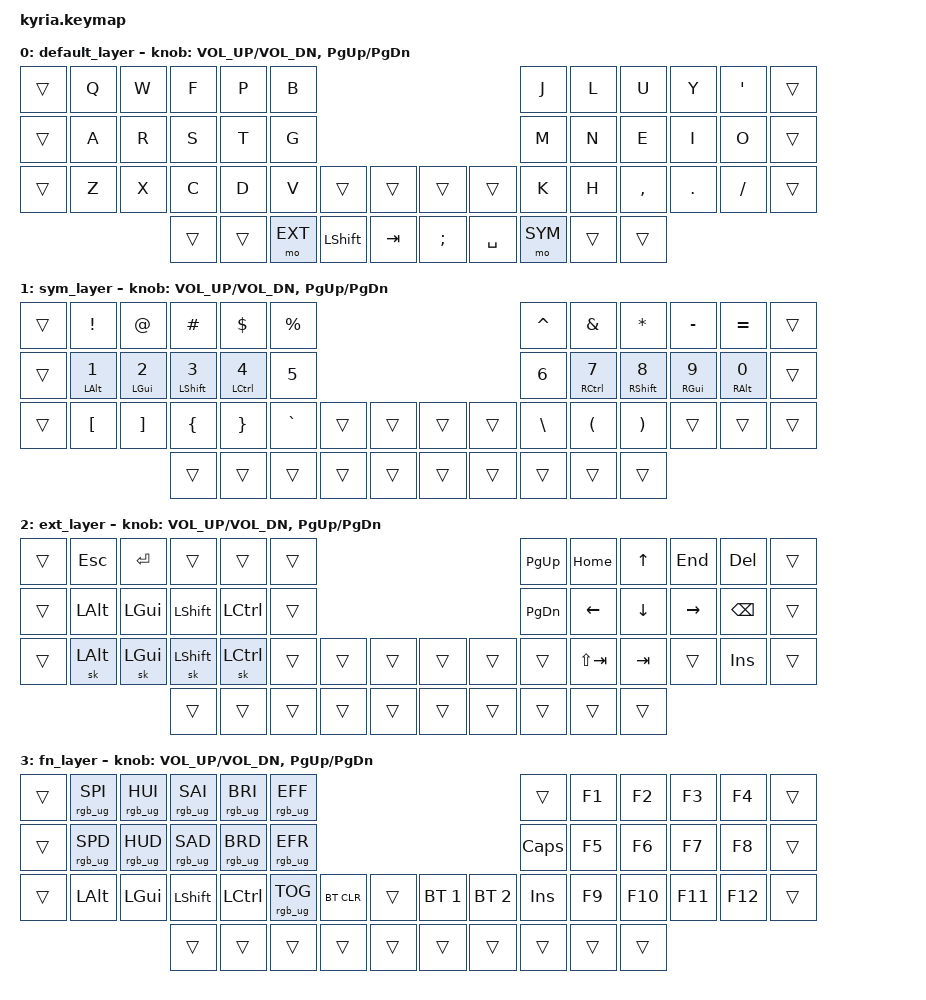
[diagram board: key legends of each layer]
/*
 * Copyright (c) 2020 The ZMK Contributors
 *
 * SPDX-License-Identifier: MIT
 */

#include <behaviors.dtsi>
#include <dt-bindings/zmk/keys.h>
#include <dt-bindings/zmk/rgb.h>
#include <dt-bindings/zmk/bt.h>
#include <../boards/shields/kyria/boards/nice_nano.overlay>

#define DEFAULT 0
#define SYM 1
#define EXT 2
#define FN 3

#define COMBO_TERM 40
#define COMBO_LAYERS DEFAULT SYM EXT

#define ZMK_COMBO(name, combo_bindings, keypos, combo_layers) \
    / { \
        combos { \
            compatible = "zmk,combos"; \
            combo_ ## name { \
                timeout-ms = <COMBO_TERM>; \
                bindings = <combo_bindings>; \
                key-positions = <keypos>; \
                layers = <combo_layers>; \
            }; \
        }; \
    };

// ╭─────────────────────────────╮                      ╭─────────────────────────────╮
// |  0 |  1 |  2 |  3 |  4 |  5 |                      |  6 |  7 |  8 |  9 | 10 | 11 |
// | 12 | 13 | 14 | 15 | 16 | 17 ╰─────────╮  ╭─────────╯ 18 | 19 | 20 | 21 | 22 | 23 |
// | 24 | 25 | 26 | 27 | 28 | 29 | 30 | 31 |  | 32 | 33 | 34 | 35 | 36 | 37 | 38 | 39 |
// ╰────────────╮ 40 | 41 | 42 | | 43 | 44 |  | 45 | 46 | | 47 | 48 | 49 ╭────────────╯
//              ╰──────────────────────────╯  ╰──────────────────────────╯

ZMK_COMBO(enter      , &kp ENTER       , 28 35       , COMBO_LAYERS  )
ZMK_COMBO(sklam      , &kp EXCLAMATION , 2 3 36 37   , COMBO_LAYERS  )
ZMK_COMBO(question   , &kp LS(SLASH)   , 4 7         , COMBO_LAYERS  )
ZMK_COMBO(minus      , &kp MINUS       , 36 37       , COMBO_LAYERS  )
ZMK_COMBO(underscore , &kp LS(MINUS)   , 35 36       , COMBO_LAYERS  )
ZMK_COMBO(equal      , &kp EQUAL       , 37 38       , COMBO_LAYERS  )
ZMK_COMBO(undo       , &kp LC(Z)       , 25 26       , COMBO_LAYERS  )
ZMK_COMBO(cut        , &kp LC(X)       , 26 27       , COMBO_LAYERS  )
ZMK_COMBO(copy       , &kp LC(C)       , 27 28       , COMBO_LAYERS  )
ZMK_COMBO(paste      , &kp LC(V)       , 26 27 28    , COMBO_LAYERS  )
ZMK_COMBO(1password  , &kp LA(X)       , 25 26 27    , COMBO_LAYERS  )
ZMK_COMBO(audio      , &kp LA(A)       , 30 43       , COMBO_LAYERS  )
ZMK_COMBO(video      , &kp LA(V)       , 31 44       , COMBO_LAYERS  )

ZMK_COMBO(lalt       , &sk LALT        , 42 25       , COMBO_LAYERS  )
ZMK_COMBO(lgui       , &sk LGUI        , 42 26       , COMBO_LAYERS  )
ZMK_COMBO(lshift     , &sk LSHFT       , 42 27       , COMBO_LAYERS  )
ZMK_COMBO(lctrl      , &sk LCTRL       , 42 28       , COMBO_LAYERS  )

ZMK_COMBO(rctrl      , &sk RCTRL       , 47 35       , COMBO_LAYERS  )
ZMK_COMBO(rshift     , &sk RSHFT       , 47 36       , COMBO_LAYERS  )
ZMK_COMBO(rgui       , &sk RGUI        , 47 37       , COMBO_LAYERS  )
ZMK_COMBO(ralt       , &sk RALT        , 47 38       , COMBO_LAYERS  )



/ {
    conditional_layers {
        compatible = "zmk,conditional-layers";
        tri_layer {
            if-layers = <SYM EXT>;
            then-layer = <FN>;
        };
    };

    behaviors {
        hm: homerow_mods {
            compatible = "zmk,behavior-hold-tap";
            label = "HOMEROW_MODS";
            #binding-cells = <2>;
            tapping-term-ms = <150>;
            quick-tap-ms = <0>;
            flavor = "tap-preferred";
            bindings = <&kp>, <&kp>;
        };
    };

    keymap {
        compatible = "zmk,keymap";

        default_layer {
            bindings = <
           // ╭─────────────┬─────────────┬─────────────┬─────────────┬─────────────┬─────────────╮                                                           ╭─────────────┬─────────────┬─────────────┬─────────────┬─────────────┬─────────────╮
                &trans        &kp Q         &kp W         &kp F         &kp P         &kp B                                                                     &kp J         &kp L         &kp U         &kp Y         &kp SQT       &trans
           // ├─────────────┼─────────────┼─────────────┼─────────────┼─────────────┼─────────────┤                                                           ├─────────────┼─────────────┼─────────────┼─────────────┼─────────────┼─────────────┤
                &trans        &kp A         &kp R         &kp S         &kp T         &kp G                                                                     &kp M         &kp N         &kp E         &kp I         &kp O         &trans
           // ├─────────────┼─────────────┼─────────────┼─────────────┼─────────────┼─────────────┤─────────────┬─────────────╮   ╭─────────────┬─────────────┼─────────────┼─────────────┼─────────────┼─────────────┤─────────────┼─────────────┤
                &trans        &kp Z         &kp X         &kp C         &kp D         &kp V         &trans        &trans            &trans        &trans        &kp K         &kp H         &kp COMMA     &kp DOT       &kp SLASH     &trans
           // ╰─────────────┴─────────────┼─────────────┼─────────────┼─────────────┼─────────────┤─────────────┤─────────────┤   ├─────────────┼─────────────┼─────────────┼─────────────┼─────────────┼─────────────┴─────────────┴─────────────╯
                                                          &trans        &trans        &mo EXT       &kp LSHIFT    &kp TAB           &kp SEMI      &kp SPACE     &mo SYM       &trans        &trans
           //                                           ╰─────────────┴─────────────┴─────────────┴─────────────┴─────────────╯   ╰─────────────┴─────────────┴─────────────┴─────────────┴─────────────╯
            >;

            sensor-bindings = <&inc_dec_kp C_VOL_UP C_VOL_DN &inc_dec_kp PG_UP PG_DN>;
        };

        sym_layer {
            bindings = <
           // ╭─────────────┬─────────────┬─────────────┬─────────────┬─────────────┬─────────────╮                                                           ╭─────────────┬─────────────┬─────────────┬─────────────┬─────────────┬─────────────╮
                &trans        &kp EXCL      &kp AT        &kp HASH      &kp DLLR      &kp PRCNT                                                                 &kp CARET     &kp AMPS      &kp ASTRK     &kp MINUS     &kp EQUAL     &trans
           // ├─────────────┼─────────────┼─────────────┼─────────────┼─────────────┼─────────────┤                                                           ├─────────────┼─────────────┼─────────────┼─────────────┼─────────────┼─────────────┤
                &trans        &hm LALT N1   &hm LGUI N2   &hm LSHFT N3  &hm LCTRL N4  &kp N5                                                                    &kp N6        &hm RCTRL N7  &hm RSHFT N8  &hm RGUI N9   &hm RALT N0   &trans
           // ├─────────────┼─────────────┼─────────────┼─────────────┼─────────────┼─────────────┤─────────────┬─────────────╮   ╭─────────────┬─────────────┼─────────────┼─────────────┼─────────────┼─────────────┤─────────────┼─────────────┤
                &trans        &kp LBKT      &kp RBKT      &kp LBRC      &kp RBRC      &kp GRAVE     &trans        &trans            &trans        &trans        &kp BSLH      &kp LPAR      &kp RPAR      &trans        &trans        &trans
           // ╰─────────────┴─────────────┼─────────────┼─────────────┼─────────────┼─────────────┤─────────────┤─────────────┤   ├─────────────┼─────────────┼─────────────┼─────────────┼─────────────┼─────────────┴─────────────┴─────────────╯
                                                          &trans        &trans        &trans        &trans        &trans            &trans        &trans        &trans        &trans        &trans
           //                                           ╰─────────────┴─────────────┴─────────────┴─────────────┴─────────────╯   ╰─────────────┴─────────────┴─────────────┴─────────────┴─────────────╯
            >;

            sensor-bindings = <&inc_dec_kp C_VOL_UP C_VOL_DN &inc_dec_kp PG_UP PG_DN>;
        };

        ext_layer {
            bindings = <
           // ╭─────────────┬─────────────┬─────────────┬─────────────┬─────────────┬─────────────╮                                                           ╭─────────────┬─────────────┬─────────────┬─────────────┬─────────────┬─────────────╮
                &trans        &kp ESC       &kp ENTER     &trans        &trans        &trans                                                                    &kp PG_UP     &kp HOME      &kp UP        &kp END       &kp DEL       &trans
           // ├─────────────┼─────────────┼─────────────┼─────────────┼─────────────┼─────────────┤                                                           ├─────────────┼─────────────┼─────────────┼─────────────┼─────────────┼─────────────┤
                &trans        &kp LALT      &kp LGUI      &kp LSHFT     &kp LCTRL     &trans                                                                    &kp PG_DN     &kp LEFT      &kp DOWN      &kp RIGHT     &kp BSPC      &trans
           // ├─────────────┼─────────────┼─────────────┼─────────────┼─────────────┼─────────────┤─────────────┬─────────────╮   ╭─────────────┬─────────────┼─────────────┼─────────────┼─────────────┼─────────────┤─────────────┼─────────────┤
                &trans        &sk LALT      &sk LGUI      &sk LSHFT     &sk LCTRL     &trans        &trans        &trans            &trans        &trans        &trans        &kp LS(TAB)   &kp TAB       &trans        &kp INS       &trans
           // ╰─────────────┴─────────────┼─────────────┼─────────────┼─────────────┼─────────────┤─────────────┤─────────────┤   ├─────────────┼─────────────┼─────────────┼─────────────┼─────────────┼─────────────┴─────────────┴─────────────╯
                                                          &trans        &trans        &trans        &trans        &trans            &trans        &trans        &trans        &trans        &trans
           //                                           ╰─────────────┴─────────────┴─────────────┴─────────────┴─────────────╯   ╰─────────────┴─────────────┴─────────────┴─────────────┴─────────────╯
            >;

            sensor-bindings = <&inc_dec_kp C_VOL_UP C_VOL_DN &inc_dec_kp PG_UP PG_DN>;
        };

        fn_layer {
            bindings = <
           // ╭─────────────┬─────────────┬─────────────┬─────────────┬─────────────┬─────────────╮                                                           ╭─────────────┬─────────────┬─────────────┬─────────────┬─────────────┬─────────────╮
                &trans &rgb_ug RGB_SPI &rgb_ug RGB_HUI &rgb_ug RGB_SAI &rgb_ug RGB_BRI &rgb_ug RGB_EFF                                                          &trans        &kp F1        &kp F2        &kp F3        &kp F4        &trans
           // ├─────────────┼─────────────┼─────────────┼─────────────┼─────────────┼─────────────┤                                                           ├─────────────┼─────────────┼─────────────┼─────────────┼─────────────┼─────────────┤
                &trans &rgb_ug RGB_SPD &rgb_ug RGB_HUD &rgb_ug RGB_SAD &rgb_ug RGB_BRD &rgb_ug RGB_EFR                                                          &kp CAPS      &kp F5        &kp F6        &kp F7        &kp F8        &trans
           // ├─────────────┼─────────────┼─────────────┼─────────────┼─────────────┼─────────────┤─────────────┬─────────────╮   ╭─────────────┬─────────────┼─────────────┼─────────────┼─────────────┼─────────────┤─────────────┼─────────────┤
                &trans        &kp LALT      &kp LGUI      &kp LSHFT     &kp LCTRL   &rgb_ug RGB_TOG &bt BT_CLR    &trans            &bt BT_SEL 1  &bt BT_SEL 2  &kp INS       &kp F9        &kp F10       &kp F11       &kp F12       &trans
           // ╰─────────────┴─────────────┼─────────────┼─────────────┼─────────────┼─────────────┤─────────────┤─────────────┤   ├─────────────┼─────────────┼─────────────┼─────────────┼─────────────┼─────────────┴─────────────┴─────────────╯
                                                          &trans        &trans        &trans        &trans        &trans            &trans        &trans        &trans        &trans        &trans
           //                                           ╰─────────────┴─────────────┴─────────────┴─────────────┴─────────────╯   ╰─────────────┴─────────────┴─────────────┴─────────────┴─────────────╯
            >;

            sensor-bindings = <&inc_dec_kp C_VOL_UP C_VOL_DN &inc_dec_kp PG_UP PG_DN>;
        };
    };
};
